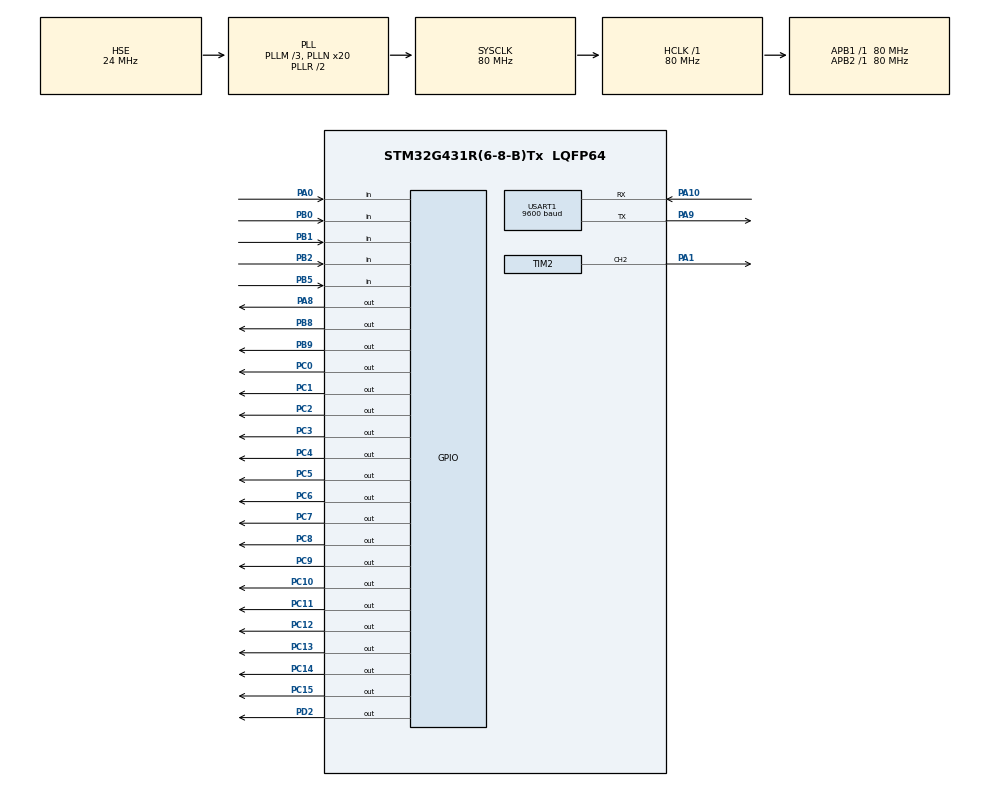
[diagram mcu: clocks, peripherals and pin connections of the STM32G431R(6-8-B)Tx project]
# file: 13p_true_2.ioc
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Dma.Request0=USART1_RX
Dma.USART1_RX.0.Direction=DMA_PERIPH_TO_MEMORY
Dma.USART1_RX.0.EventEnable=DISABLE
Dma.USART1_RX.0.Instance=DMA1_Channel1
Dma.USART1_RX.0.MemDataAlignment=DMA_MDATAALIGN_WORD
Dma.USART1_RX.0.MemInc=DMA_MINC_ENABLE
Dma.USART1_RX.0.Mode=DMA_CIRCULAR
Dma.USART1_RX.0.PeriphDataAlignment=DMA_PDATAALIGN_WORD
Dma.USART1_RX.0.PeriphInc=DMA_PINC_DISABLE
Dma.USART1_RX.0.Polarity=HAL_DMAMUX_REQ_GEN_RISING
Dma.USART1_RX.0.Priority=DMA_PRIORITY_HIGH
Dma.USART1_RX.0.RequestNumber=1
Dma.USART1_RX.0.SignalID=NONE
Dma.USART1_RX.0.SyncEnable=DISABLE
Dma.USART1_RX.0.SyncPolarity=HAL_DMAMUX_SYNC_NO_EVENT
Dma.USART1_RX.0.SyncRequestNumber=1
Dma.USART1_RX.0.SyncSignalID=NONE
Mcu.Family=STM32G4
Mcu.Name=STM32G431R(6-8-B)Tx
Mcu.Package=LQFP64
NVIC.DMA1_Channel1_IRQn=true\:0\:0\:false\:false\:true\:false\:true\:true
NVIC.PriorityGroup=NVIC_PRIORITYGROUP_4
NVIC.USART1_IRQn=true\:0\:0\:false\:false\:true\:true\:true\:true
PA0.GPIO_PuPd=GPIO_PULLUP
PA0.Signal=GPIO_Input
PA1.Signal=S_TIM2_CH2
PA10.Mode=Asynchronous
PA10.Signal=USART1_RX
PA8.Signal=GPIO_Output
PA9.Mode=Asynchronous
PA9.Signal=USART1_TX
PB0.GPIO_PuPd=GPIO_PULLUP
PB0.Signal=GPIO_Input
PB1.GPIO_PuPd=GPIO_PULLUP
PB1.Signal=GPIO_Input
PB2.GPIO_PuPd=GPIO_PULLUP
PB2.Signal=GPIO_Input
PB5.Signal=GPIO_Input
PB8-BOOT0.Signal=GPIO_Output
PB9.Signal=GPIO_Output
PC0.Signal=GPIO_Output
PC1.Signal=GPIO_Output
PC10.Signal=GPIO_Output
PC11.Signal=GPIO_Output
PC12.Signal=GPIO_Output
PC13.Signal=GPIO_Output
PC14-OSC32_IN.Signal=GPIO_Output
PC15-OSC32_OUT.Signal=GPIO_Output
PC2.Signal=GPIO_Output
PC3.Signal=GPIO_Output
PC4.Signal=GPIO_Output
PC5.Signal=GPIO_Output
PC6.Signal=GPIO_Output
PC7.Signal=GPIO_Output
PC8.Signal=GPIO_Output
PC9.Signal=GPIO_Output
PD2.Signal=GPIO_Output
PF0-OSC_IN.Mode=HSE-External-Oscillator
PF0-OSC_IN.Signal=RCC_OSC_IN
PF1-OSC_OUT.Mode=HSE-External-Oscillator
PF1-OSC_OUT.Signal=RCC_OSC_OUT
ProjectManager.HeapSize=0x200
ProjectManager.StackSize=0x400
ProjectManager.TargetToolchain=MDK-ARM V5.32
RCC.ADC12Freq_Value=80000000
RCC.AHBFreq_Value=80000000
RCC.APB1Freq_Value=80000000
RCC.APB1TimFreq_Value=80000000
RCC.APB2Freq_Value=80000000
RCC.APB2TimFreq_Value=80000000
RCC.CortexFreq_Value=80000000
RCC.EXTERNAL_CLOCK_VALUE=12288000
RCC.HCLKFreq_Value=80000000
RCC.HSE_VALUE=24000000
RCC.HSI48_VALUE=48000000
RCC.HSI_VALUE=16000000
RCC.LSE_VALUE=32768
RCC.PLLM=RCC_PLLM_DIV3
RCC.PLLN=20
RCC.PLLSourceVirtual=RCC_PLLSOURCE_HSE
RCC.SYSCLKFreq_VALUE=80000000
RCC.SYSCLKSource=RCC_SYSCLKSOURCE_PLLCLK
RCC.USBFreq_Value=80000000
RCC.VCOOutputFreq_Value=160000000
SH.S_TIM2_CH2.0=TIM2_CH2,PWM Generation2 CH2
TIM2.Channel-PWM\ Generation2\ CH2=TIM_CHANNEL_2
TIM2.PeriodNoDither=500
TIM2.Prescaler=79
TIM2.PulseNoDither_2=25
USART1.BaudRate=9600
USART1.VirtualMode-Asynchronous=VM_ASYNC
VP_SYS_VS_DBSignals.Mode=DisableDeadBatterySignals
VP_TIM2_VS_ClockSourceINT.Mode=Internal
board=custom

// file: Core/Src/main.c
/* USER CODE BEGIN Header */
/**
  ******************************************************************************
  * @file           : main.c
  * @brief          : Main program body
  ******************************************************************************
  * @attention
  *
  * Copyright (c) 2025 STMicroelectronics.
  * All rights reserved.
  *
  * This software is licensed under terms that can be found in the LICENSE file
  * in the root directory of this software component.
  * If no LICENSE file comes with this software, it is provided AS-IS.
  *
  ******************************************************************************
  */
/* USER CODE END Header */
#include "main.h"
#include "dma.h"
#include "tim.h"
#include "usart.h"
#include "gpio.h"
#include "bsp.h"

void SystemClock_Config(void);

int main(void)
{

  /* MCU Configuration--------------------------------------------------------*/

  /* Reset of all peripherals, Initializes the Flash interface and the Systick. */
  HAL_Init();

  /* Configure the system clock */
  SystemClock_Config();

  /* Initialize all configured peripherals */
  MX_GPIO_Init();
  MX_DMA_Init();
  MX_USART1_UART_Init();
  MX_TIM2_Init();
	I2CInit();
  /* USER CODE BEGIN 2 */
	LCD_Init();
	LCD_Clear(Black);
	LCD_SetBackColor(Black);
	LCD_SetTextColor(White);
	HAL_TIM_PWM_Start(&htim2,TIM_CHANNEL_2);
	HAL_UART_Receive_IT(&huart1,uart_rx_buffer,1);
	if(eeprom_read(0x04)==0)
	{
		eeprom_write(0x00,10);
		HAL_Delay(10);
		eeprom_write(0x01,10);
		HAL_Delay(10);
		eeprom_write(0x02,10);
		HAL_Delay(10);
		eeprom_write(0x03,10);
		HAL_Delay(10);
		eeprom_write(0x04,1);
	}
  /* USER CODE END 2 */

  /* Infinite loop */
  while (1)
  {
led_proc();
		lcd_proc();
		key_proc();
		uart_proc();
  }
}

void SystemClock_Config(void)
{
  RCC_OscInitTypeDef RCC_OscInitStruct = {0};
  RCC_ClkInitTypeDef RCC_ClkInitStruct = {0};

  /** Configure the main internal regulator output voltage
  */
  HAL_PWREx_ControlVoltageScaling(PWR_REGULATOR_VOLTAGE_SCALE1);

  /** Initializes the RCC Oscillators according to the specified parameters
  * in the RCC_OscInitTypeDef structure.
  */
  RCC_OscInitStruct.OscillatorType = RCC_OSCILLATORTYPE_HSE;
  RCC_OscInitStruct.HSEState = RCC_HSE_ON;
  RCC_OscInitStruct.PLL.PLLState = RCC_PLL_ON;
  RCC_OscInitStruct.PLL.PLLSource = RCC_PLLSOURCE_HSE;
  RCC_OscInitStruct.PLL.PLLM = RCC_PLLM_DIV3;
  RCC_OscInitStruct.PLL.PLLN = 20;
  RCC_OscInitStruct.PLL.PLLP = RCC_PLLP_DIV2;
  RCC_OscInitStruct.PLL.PLLQ = RCC_PLLQ_DIV2;
  RCC_OscInitStruct.PLL.PLLR = RCC_PLLR_DIV2;
  if (HAL_RCC_OscConfig(&RCC_OscInitStruct) != HAL_OK)
  {
    Error_Handler();
  }

  /** Initializes the CPU, AHB and APB buses clocks
  */
  RCC_ClkInitStruct.ClockType = RCC_CLOCKTYPE_HCLK|RCC_CLOCKTYPE_SYSCLK
                              |RCC_CLOCKTYPE_PCLK1|RCC_CLOCKTYPE_PCLK2;
  RCC_ClkInitStruct.SYSCLKSource = RCC_SYSCLKSOURCE_PLLCLK;
  RCC_ClkInitStruct.AHBCLKDivider = RCC_SYSCLK_DIV1;
  RCC_ClkInitStruct.APB1CLKDivider = RCC_HCLK_DIV1;
  RCC_ClkInitStruct.APB2CLKDivider = RCC_HCLK_DIV1;

  if (HAL_RCC_ClockConfig(&RCC_ClkInitStruct, FLASH_LATENCY_2) != HAL_OK)
  {
    Error_Handler();
  }
}

void Error_Handler(void)
{
  __disable_irq();
  while (1)
  {
  }
}
